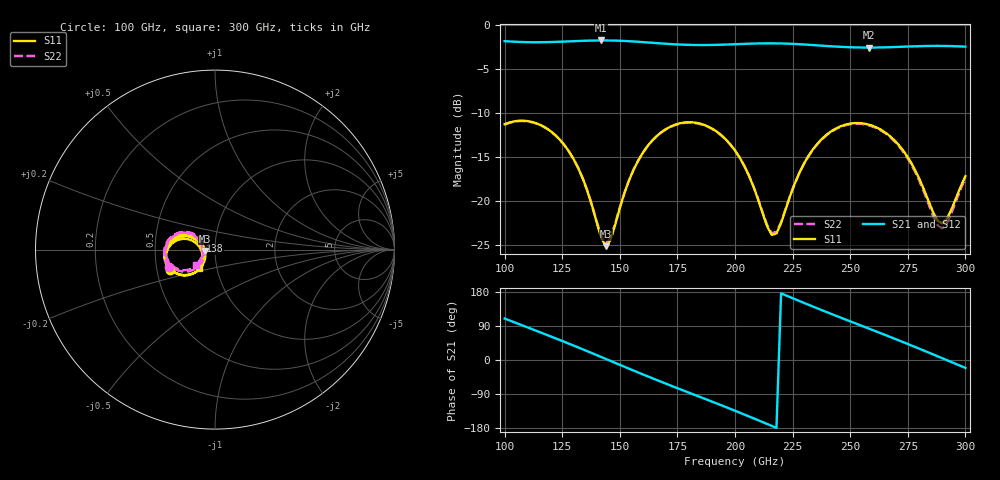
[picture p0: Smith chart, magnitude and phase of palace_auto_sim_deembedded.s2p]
! Created with skrf 1.11.0 (http://scikit-rf.org).
# GHz S DB R 50.0
!freq dBS11 angS11 dBS21 angS21 dBS12 angS12 dBS22 angS22
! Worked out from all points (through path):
!   101 points, 100 GHz to 300 GHz, reference 50 ohm
!   highest |S21| = -1.76 dB at 142 GHz (marker M1); lowest = -2.6 dB at 258 GHz (marker M2)
!   group delay of S21, straight-line fit = 6.81 ps
!   lowest |S11| = -25.1 dB at 144 GHz (marker M3), VSWR 1.12, Z = 44.8 - j0.706 ohm
!   |S11| at or under -10 dB: start of sweep to end of sweep
!   |S22| runs from -24.8 to -10.9 dB; largest |S21 - S12| = 1.3e-13
!   S11 on the Smith chart (normalised r, x): 100 GHz: 0.59, -0.14; 138 GHz: 0.85, +0.08; 300 GHz: 0.82, -0.17
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100  -11.28 -155.6  -1.83 109.6  -1.83 109.6  -11.31 -159.1
116  -11.41 173.3  -1.95 71.8  -1.95 71.8  -11.44 169.4
126  -13.65 155.7  -1.88 47.8  -1.88 47.8  -13.67 151.6
134  -17.48 147.0  -1.80 28.0  -1.80 28.0  -17.47 142.9
138  -20.58 149.8  -1.77 17.9  -1.77 17.9  -20.50 145.8
142  -24.23 168.8  -1.76 7.7  -1.76 7.7  -24.00 164.4
144  -25.12 -171.9  -1.76 2.6  -1.76 2.6  -24.83 -177.1
156  -16.42 -129.3  -1.87 -27.9  -1.87 -27.9  -16.43 -135.7
168  -12.18 -146.7  -2.10 -57.6  -2.10 -57.6  -12.22 -153.2
184  -11.15 -176.0  -2.28 -95.6  -2.28 -95.6  -11.19 177.1
200  -14.25 157.5  -2.19 -133.9  -2.19 -133.9  -14.28 150.2
208  -18.34 152.7  -2.11 -153.8  -2.11 -153.8  -18.32 145.3
216  -23.85 -174.6  -2.08 -174.0  -2.08 -174.0  -23.66 177.1
218  -23.68 -157.5  -2.09 -179.1  -2.09 -179.1  -23.50 -166.4
224  -19.37 -130.9  -2.13 165.6  -2.13 165.6  -19.35 -140.4
234  -14.06 -135.0  -2.28 140.6  -2.28 140.6  -14.11 -144.6
246  -11.49 -154.1  -2.48 111.5  -2.48 111.5  -11.56 -164.2
258  -11.31 -175.1  -2.56 83.1  -2.56 83.1  -11.39 174.3
268  -12.80 168.7  -2.52 59.3  -2.52 59.3  -12.90 157.5
280  -17.48 158.7  -2.41 29.8  -2.41 29.8  -17.68 146.4
290  -22.54 -164.2  -2.38 4.6  -2.38 4.6  -23.10 -175.4
300  -17.17 -130.9  -2.46 -20.8  -2.46 -20.8  -17.38 -141.3
